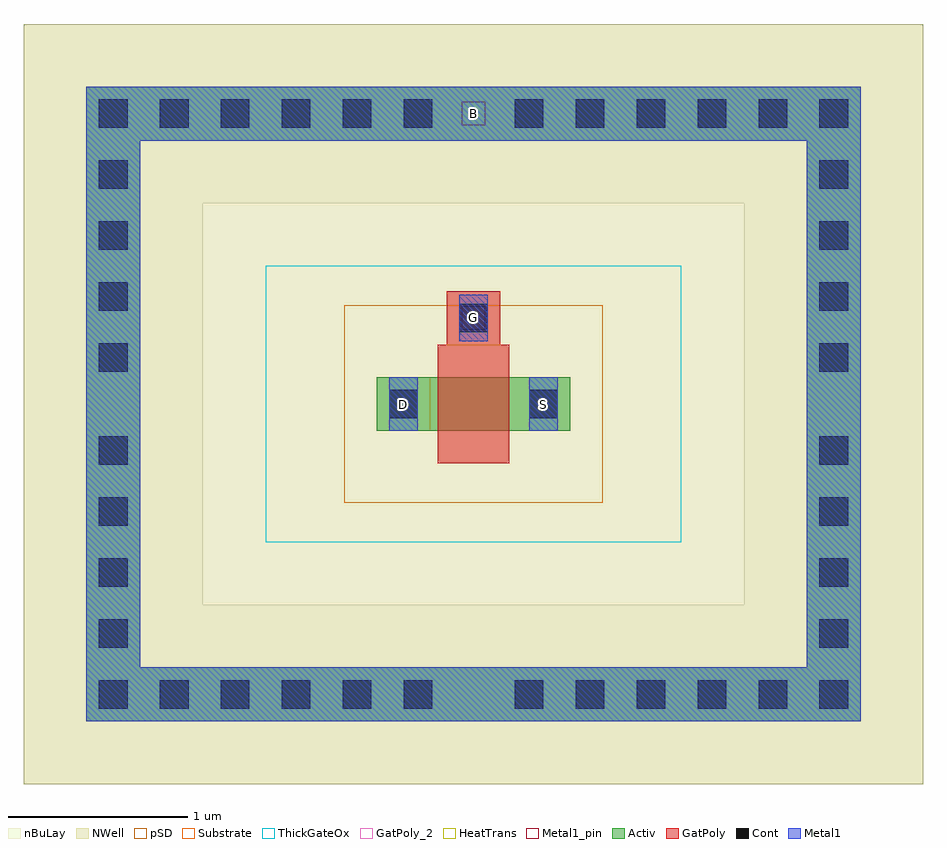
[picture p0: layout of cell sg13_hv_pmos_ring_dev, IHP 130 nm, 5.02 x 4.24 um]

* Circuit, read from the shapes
.subckt sg13_hv_pmos_ring_dev B D G S
XM1 S G D B sg13_hv_pmos w=0.3u l=0.4u
.ends

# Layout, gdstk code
from math import pi, radians
import gdstk
lib = gdstk.Library(unit=1e-6, precision=1e-09)
def R(c, l, rs):  # rectangles x0, y0, x1, y1
    for r in rs: c.add(gdstk.rectangle(r[:2], r[2:], *l))
def A(c, l, x, y, w, h, nx, ny, dx, dy):  # array of equal rectangles
    R(c, l, [(x+i*dx, y+j*dy, x+i*dx+w, y+j*dy+h) for i in range(nx) for j in range(ny)])
def P(c, l, *ps):  # polygons
    for p in ps: c.add(gdstk.Polygon(p, *l))
Activ = (1, 0)
GatPoly = (5, 0)
GatPoly_2 = (5, 2)
Cont = (6, 0)
Metal1 = (8, 0)
Metal1_pin = (8, 2)
pSD = (14, 0)
NWell = (31, 0)
nBuLay = (32, 0)
Substrate = (40, 0)
ThickGateOx = (44, 0)
HeatTrans = (51, 0)

pmoshv = lib.new_cell('pmosHV')
R(pmoshv, Activ, [(-1.62,-1.32,-1.32,1.62), (2.4,-1.32,2.7,1.62), (0,0,0.3,0.3), (0,0,1.08,0.3), (0.78,0,1.08,0.3), (-1.62,1.62,2.7,1.92)])
P(pmoshv, Activ, [(-1.62,-1.62),(-1.62,1.62),(-1.32,1.62),(-1.32,-1.32),(2.4,-1.32),(2.4,1.62),(-1.62,1.62),(-1.62,1.92),(2.7,1.92),(2.7,-1.62)])
R(pmoshv, GatPoly, [(0.34,-0.18,0.74,0.48)])
R(pmoshv, GatPoly_2, [(0.34,-0.18,0.74,0.48)])
A(pmoshv, Cont, -1.55, -1.55, 0.16, 0.16, 6, 2, 0.34, 3.24)
A(pmoshv, Cont, 0.77, -1.55, 0.16, 0.16, 6, 2, 0.34, 3.24)
A(pmoshv, Cont, -1.55, -1.21, 0.16, 0.16, 1, 4, 0, 0.34)
A(pmoshv, Cont, 2.47, -1.21, 0.16, 0.16, 1, 4, 0, 0.34)
A(pmoshv, Cont, -1.55, 0.33, 0.16, 0.16, 1, 4, 0, 0.34)
A(pmoshv, Cont, 2.47, 0.33, 0.16, 0.16, 1, 4, 0, 0.34)
R(pmoshv, Cont, [(0.07,0.07,0.23,0.23), (0.85,0.07,1.01,0.23)])
R(pmoshv, Metal1, [(-1.62,-1.62,2.7,-1.32), (-1.62,-1.32,-1.32,1.62), (2.4,-1.32,2.7,1.62), (0.07,0,0.23,0.3), (0.85,0,1.01,0.3), (-1.62,1.62,2.7,1.92)])
R(pmoshv, Metal1_pin, [(0.07,0,0.23,0.3), (0.85,0,1.01,0.3)])
R(pmoshv, pSD, [(-0.18,-0.4,1.26,0.7)])
R(pmoshv, NWell, [(-1.97,-1.97,3.05,2.27), (-0.62,-0.62,1.7,0.92)])
R(pmoshv, nBuLay, [(-1.97,-0.97,-0.97,1.27), (2.05,-0.97,3.05,1.27), (-1.97,1.27,3.05,2.27)])
P(pmoshv, nBuLay, [(-1.97,-1.97),(-1.97,1.27),(-0.97,1.27),(-0.97,-0.97),(2.05,-0.97),(2.05,1.27),(-1.97,1.27),(-1.97,2.27),(3.05,2.27),(3.05,-1.97)])
R(pmoshv, Substrate, [(0.78,0,1.08,0.3)])
R(pmoshv, ThickGateOx, [(-0.62,-0.62,1.7,0.92)])
R(pmoshv, HeatTrans, [(0.34,-0.18,0.74,0.48)])
pmoshv.add(gdstk.Label('pmosHV', (0.54,0.15), layer=63, texttype=0))
pmoshv.add(gdstk.Label('well', (0.54,-1.47), layer=63, texttype=0))
pmoshv.add(gdstk.Label('pmos', (0.54,0.15), layer=51, texttype=0))

via = lib.new_cell('Via')
R(via, GatPoly, [(-0.15,-0.15,0.15,0.15)])
R(via, Cont, [(-0.08,-0.08,0.08,0.08)])
R(via, Metal1, [(-0.13,-0.08,0.13,0.08)])

sg13_hv_pmos_ring_dev = lib.new_cell('sg13_hv_pmos_ring_dev')
R(sg13_hv_pmos_ring_dev, Metal1_pin, [(0.705,0.705,0.835,0.835), (1.485,0.705,1.615,0.835), (1.095,1.185,1.225,1.315), (1.095,2.325,1.225,2.455)])
sg13_hv_pmos_ring_dev.add(gdstk.Reference(pmoshv, (1.7,0.92), rotation=pi))
sg13_hv_pmos_ring_dev.add(gdstk.Reference(via, (1.16,1.25), rotation=3*pi/2))
sg13_hv_pmos_ring_dev.add(gdstk.Label('B', (1.16,2.39), layer=8, texttype=25))
sg13_hv_pmos_ring_dev.add(gdstk.Label('D', (0.77,0.77), layer=8, texttype=25))
sg13_hv_pmos_ring_dev.add(gdstk.Label('S', (1.55,0.77), layer=8, texttype=25))
sg13_hv_pmos_ring_dev.add(gdstk.Label('G', (1.16,1.25), layer=8, texttype=25))

lib.write_gds('sg13_hv_pmos_ring_dev.gds')
